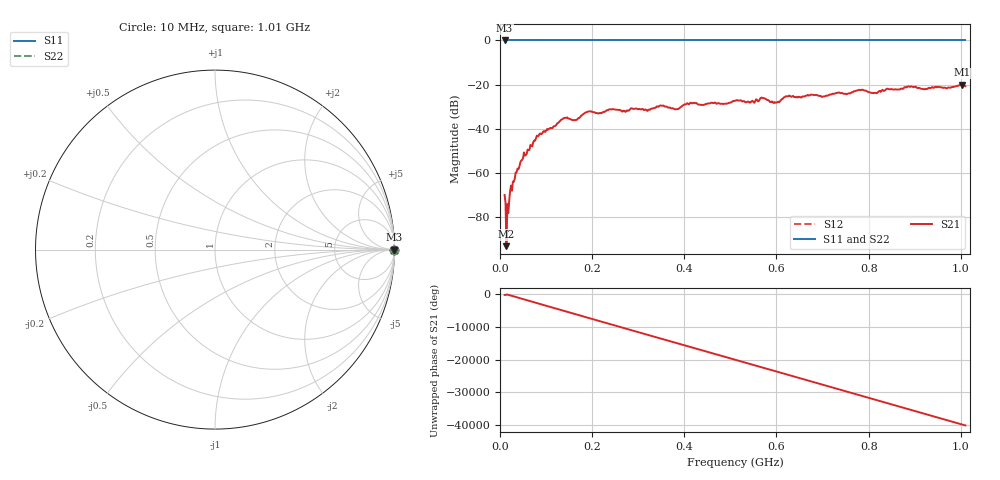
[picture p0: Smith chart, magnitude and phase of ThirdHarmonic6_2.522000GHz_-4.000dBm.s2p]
! 8/17/2025 4:58:16 AM
! C:\ANRITSUVNA\TEMP\TEMP.S2P
! CHANNEL.1
! TR.MEASUREMENT
! RAW.DATA
! RF.CORRECTION.OFF
! AVERAGING.OFF
! IF.BANDWIDTH: 5KHZ
! SWEEPTYPE:  FREQ.SWEEP(Linear)
! Reference Plane Port Info
! PORT:  PORT1  PORT2
! DISTANCE:  0  m  0  m
! TIME:  0  s  0  s
! PHASE.OFFSET:  0  deg.  0  deg.
! LOSS:  0  dB  0  dB
! REF.LOSS:  0  dB  0  dB
! REF.FREQ:  0  Hz  0  Hz
! Power Info
! POWER:  -20  dBm  -20  dBm
! EFF.POWER:  -20  dBm  -20  dBm
! SOURCE.ATTEN:  0  dB  0  dB
! TEST.ATTEN:  0  dB  0  dB
# GHZ S RI R 50.0
! FREQ.GHZ  S11RE  S11IM  S21RE  S21IM  S12RE  S12IM  S22RE  S22IM
!; PortSelection: Port_12
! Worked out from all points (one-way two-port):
!   501 points, 10 MHz to 1.01 GHz, reference 50 ohm
!   highest |S21| = -20.08 dB at 1.002 GHz (marker M1); lowest = -93.4 dB at 14 MHz (marker M2)
!   lowest |S11| = 0.0 dB at 10 MHz (marker M3)
!   |S11| at or under -10 dB: nowhere
!   |S22| runs from 0.0 to 0.0 dB; largest |S21 - S12| = 1.1
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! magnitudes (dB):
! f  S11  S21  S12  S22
! 10 MHz  0.0  -70.1  0.0  0.0
! 14 MHz  0.0  -93.4  0.0  0.0
! 18 MHz  0.0  -78.3  0.0  0.0
! 26 MHz  0.0  -68.2  0.0  0.0
! 48 MHz  0.0  -54.2  0.0  0.0
! 82 MHz  0.0  -43.6  0.0  0.0
! 138 MHz  0.0  -35.3  0.0  0.0
! 162 MHz  0.0  -36.2  0.0  0.0
! 178 MHz  0.0  -33.9  0.0  0.0
! 344 MHz  0.0  -30.1  0.0  0.0
! 384 MHz  0.0  -31.1  0.0  0.0
! 410 MHz  0.0  -29.0  0.0  0.0
! 510 MHz  0.0  -27.4  0.0  0.0
! 570 MHz  0.0  -26.1  0.0  0.0
! 598 MHz  0.0  -28.3  0.0  0.0
! 624 MHz  0.0  -25.4  0.0  0.0
! 678 MHz  0.0  -24.6  0.0  0.0
! 784 MHz  0.0  -22.5  0.0  0.0
! 814 MHz  0.0  -23.8  0.0  0.0
! 844 MHz  0.0  -22.1  0.0  0.0
! 1.002 GHz  0.0  -20.1  0.0  0.0
! 1.01 GHz  0.0  -20.7  0.0  0.0
